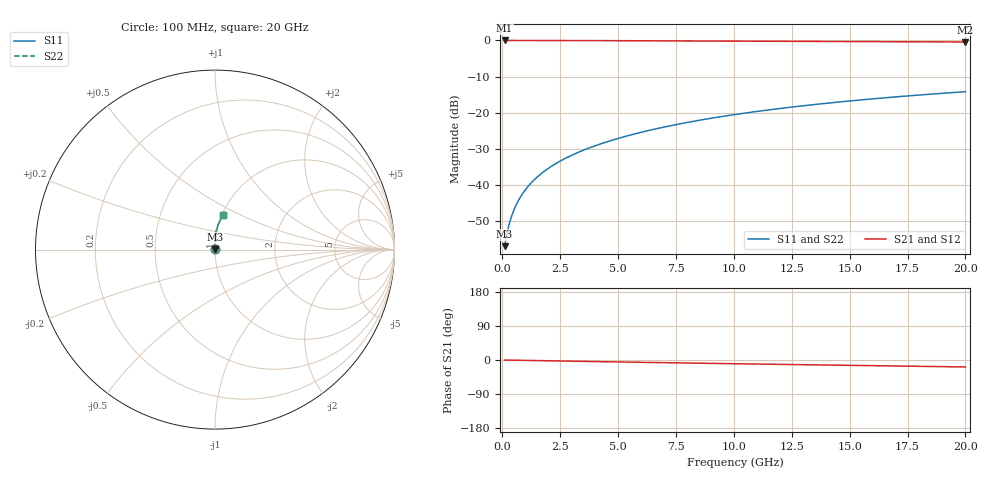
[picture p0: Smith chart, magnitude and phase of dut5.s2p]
! Touchstone file exported from HFSS 2024.1.0
!  File:  C:/UserFiles/LocalFiles/RDL_TSV_Batchsim/temp_RDL_top_5_1778679613.aedt
!  Generated:  09:42:37 PM May 13, 2026
!  Design:  RDL_top
!  Project:  temp_RDL_top_5_1778679613
!  Setup:  Setup1
!  Solution:  Sweep
! Variables:
!  dtsv = 10.80580581um
!  hbump = 3um
!  htsv = 78.63um
!  ldown = 100um
!  lrdl = 231.45um
!  p = 40
!  p1 = 51.49um
!  rhole = 1um
!  t = 450um
!  tdown = 3.915915916um
!  trdl = 4.05um
!  wdown = 15.38538539um
!  wrdl = 23.12um
# GHz S MA R 50.000000
! Terminal data exported
! Port[1] = Box2_T1
! Port[2] = Box2_T2
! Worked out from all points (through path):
!   200 points, 100 MHz to 20 GHz, reference 50 ohm
!   highest |S21| = -0.01 dB at 100 MHz (marker M1); lowest = -0.4 dB at 20 GHz (marker M2)
!   group delay of S21, straight-line fit = 2.52 ps
!   lowest |S11| = -57.0 dB at 100 MHz (marker M3), VSWR 1.00, Z = 50.1 + j0.0922 ohm
!   |S11| at or under -10 dB: start of sweep to end of sweep
!   |S22| runs from -57.0 to -14.2 dB; largest |S21 - S12| = 8.2e-15
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0.1  0.001411 40.7  0.9989 -0.1  0.9989 -0.1  0.001411 40.7
! Gamma 0 0 0 0
! Port Impedance 50 0 50 0
0.2  0.002116 57.8  0.9989 -0.2  0.9989 -0.2  0.002116 57.8
0.3  0.002878 66.1  0.9988 -0.3  0.9988 -0.3  0.002878 66.1
0.4  0.003661 71.0  0.9987 -0.4  0.9987 -0.4  0.003661 71.0
0.5  0.004459 74.3  0.9986 -0.5  0.9986 -0.5  0.004459 74.3
0.6  0.005266 76.7  0.9986 -0.7  0.9986 -0.7  0.005266 76.7
0.8  0.006903 79.9  0.9985 -0.9  0.9985 -0.9  0.006904 79.9
1.1  0.009392 82.7  0.9982 -1.2  0.9982 -1.2  0.009392 82.7
1.5  0.01275 84.9  0.9979 -1.6  0.9979 -1.6  0.01275 84.9
1.8  0.01529 85.9  0.9975 -1.9  0.9975 -1.9  0.01529 85.9
2.1  0.01785 86.7  0.9971 -2.2  0.9971 -2.2  0.01785 86.7
2.7  0.02303 87.7  0.9961 -2.9  0.9961 -2.9  0.02303 87.7
3.5  0.0301 88.6  0.9946 -3.7  0.9946 -3.7  0.0301 88.6
4.2  0.03644 89.0  0.993 -4.4  0.993 -4.4  0.03645 89.0
5  0.04388 89.2  0.9911 -5.2  0.9911 -5.2  0.04388 89.2
5.9  0.05246 89.2  0.9887 -6.1  0.9887 -6.1  0.05246 89.2
6.8  0.06124 88.9  0.9863 -6.9  0.9863 -6.9  0.06124 88.9
8.4  0.07724 88.1  0.9819 -8.4  0.9819 -8.4  0.07725 88.1
10.1  0.0946 86.8  0.9773 -9.9  0.9773 -9.9  0.09461 86.8
13.4  0.1286 83.8  0.9686 -12.8  0.9686 -12.8  0.1286 83.8
16.7  0.1622 80.5  0.9599 -15.6  0.9599 -15.6  0.1622 80.5
20  0.1949 77.3  0.9511 -18.4  0.9511 -18.4  0.195 77.3
